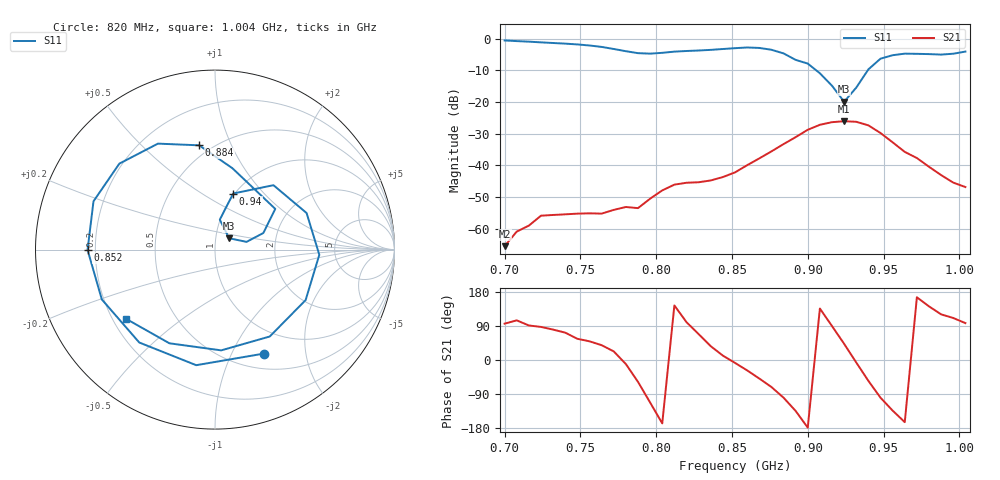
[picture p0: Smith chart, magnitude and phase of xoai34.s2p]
# Hz S RI R 50
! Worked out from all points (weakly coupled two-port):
!   39 points, 700 MHz to 1.004 GHz, reference 50 ohm
!   highest |S21| = -26.07 dB at 924 MHz (marker M1); lowest = -65.6 dB at 700 MHz (marker M2)
!   lowest |S11| = -19.9 dB at 924 MHz (marker M3), VSWR 1.22, Z = 58 + j7.43 ohm
!   |S11| at or under -10 dB: 905.6 MHz to 939.5 MHz (33.91 MHz wide, 3.68 % of centre)
!   S12 and S22 are empty: the file has one direction only
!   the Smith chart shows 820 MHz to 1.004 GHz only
!   S11 on the Smith chart (normalised r, x): 820 MHz: 0.68, -1.34; 852 MHz: 0.17, -0.00; 884 MHz: 0.43, +0.76; 940 MHz: 0.99, +0.69; 1.004 GHz: 0.25, -0.32
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7e8  0.7613 0.5521  -5.41e-05 0.000525  0 0  0 0
7.24e8  0.8422 -0.2465  7.51e-05 0.0016  0 0  0 0
7.4e8  0.4546 -0.7039  0.000514 0.0016  0 0  0 0
7.56e8  -0.1964 -0.7579  0.00114 0.00132  0 0  0 0
7.72e8  -0.6614 -0.1949  0.00182 0.000761  0 0  0 0
7.8e8  -0.5932 0.2294  0.00216 -0.000407  0 0  0 0
7.88e8  -0.2451 0.5394  0.00113 -0.00178  0 0  0 0
7.96e8  0.2458 0.5276  -0.00112 -0.00275  0 0  0 0
8.04e8  0.5738 0.1731  -0.00392 -0.000882  0 0  0 0
8.2e8  0.2744 -0.5791  -0.000911 0.00522  0 0  0 0
8.36e8  -0.422 -0.5177  0.00464 0.00342  0 0  0 0
8.52e8  -0.7101 -0.00137  0.00766 -0.00103  0 0  0 0
8.68e8  -0.533 0.4789  0.00846 -0.00969  0 0  0 0
8.84e8  -0.0882 0.581  -0.00349 -0.0213  0 0  0 0
9e8  0.3358 0.2268  -0.0364 -0.000956  0 0  0 0
9.08e8  0.2694 0.0925  -0.0313 0.0305  0 0  0 0
9.24e8  0.0787 0.0633  0.0366 0.0337  0 0  0 0
9.4e8  0.1015 0.3124  0.0245 -0.0351  0 0  0 0
9.56e8  0.5104 0.2037  -0.0159 -0.0167  0 0  0 0
9.64e8  0.5812 -0.0291  -0.0157 -0.00449  0 0  0 0
9.8e8  0.3051 -0.4841  -0.00742 0.0059  0 0  0 0
1.004e9  -0.4947 -0.3861  -0.000578 0.0045  0 0  0 0
